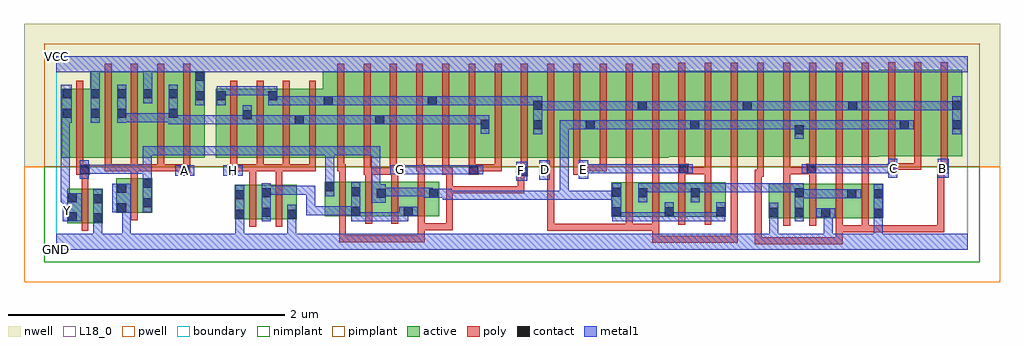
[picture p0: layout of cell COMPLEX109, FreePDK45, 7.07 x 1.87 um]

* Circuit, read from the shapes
.subckt COMPLEX109 A B C D E F G GND H VCC Y
M1 GND n1 Y VSUBS nfet w=0.25u l=0.05u
M2 n1 A GND VSUBS nfet w=0.25u l=0.05u
M3 n2 H GND VSUBS nfet w=0.25u l=0.05u m=2
M4 n2 F n1 VSUBS nfet w=0.25u l=0.05u m=2
M5 n1 G n2 VSUBS nfet w=0.25u l=0.05u m=2
M6 n3 D n1 VSUBS nfet w=0.25u l=0.05u m=2
M7 n3 E n1 VSUBS nfet w=0.25u l=0.05u m=2
M8 n3 C GND VSUBS nfet w=0.25u l=0.05u m=2
M9 n3 B GND VSUBS nfet w=0.25u l=0.05u m=2
M10 VCC n1 Y n4 pfet w=0.5u l=0.05u
M11 n5 A VCC n4 pfet w=0.625u l=0.05u m=4
M12 n5 H n6 n4 pfet w=0.5u l=0.05u m=4
M13 n7 F n6 n4 pfet w=0.625u l=0.05u
M14 n5 G n7 n4 pfet w=0.625u l=0.05u
M15 n8 G n5 n4 pfet w=0.625u l=0.05u
M16 n6 F n8 n4 pfet w=0.625u l=0.05u
M17 n9 F n6 n4 pfet w=0.625u l=0.05u
M18 n5 G n9 n4 pfet w=0.625u l=0.05u
M19 n10 G n5 n4 pfet w=0.625u l=0.05u
M20 n6 F n10 n4 pfet w=0.625u l=0.05u
M21 n11 D n6 n4 pfet w=0.625u l=0.05u
M22 n1 E n11 n4 pfet w=0.625u l=0.05u
M23 n12 E n1 n4 pfet w=0.625u l=0.05u
M24 n6 D n12 n4 pfet w=0.625u l=0.05u
M25 n13 D n6 n4 pfet w=0.625u l=0.05u
M26 n1 E n13 n4 pfet w=0.625u l=0.05u
M27 n14 E n1 n4 pfet w=0.625u l=0.05u
M28 n6 D n14 n4 pfet w=0.625u l=0.05u
M29 n15 B n6 n4 pfet w=0.625u l=0.05u
M30 n1 C n15 n4 pfet w=0.625u l=0.05u
M31 n16 C n1 n4 pfet w=0.625u l=0.05u
M32 n6 B n16 n4 pfet w=0.625u l=0.05u
M33 n17 B n6 n4 pfet w=0.625u l=0.05u
M34 n1 C n17 n4 pfet w=0.625u l=0.05u
M35 n18 C n1 n4 pfet w=0.625u l=0.05u
M36 n6 B n18 n4 pfet w=0.625u l=0.05u
.ends

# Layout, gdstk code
import gdstk
lib = gdstk.Library(unit=1e-6, precision=1e-09)
def R(c, l, rs):  # rectangles x0, y0, x1, y1
    for r in rs: c.add(gdstk.rectangle(r[:2], r[2:], *l))
def A(c, l, x, y, w, h, nx, ny, dx, dy):  # array of equal rectangles
    R(c, l, [(x+i*dx, y+j*dy, x+i*dx+w, y+j*dy+h) for i in range(nx) for j in range(ny)])
active = (1, 0)
pwell = (2, 0)
nwell = (3, 0)
nimplant = (4, 0)
pimplant = (5, 0)
poly = (9, 0)
contact = (10, 0)
metal1 = (11, 0)
L18_0 = (18, 0)
boundary = (235, 0)

complex109 = lib.new_cell('COMPLEX109')
A(complex109, active, 5.345, 0.227, 0.265, 0.25, 3, 1, 0.19, 0)
A(complex109, active, 4.02, 0.237, 0.265, 0.25, 3, 1, 0.19, 0)
A(complex109, active, 4.435, 0.672, 0.225, 0.625, 3, 1, 0.38, 0)
A(complex109, active, 4.585, 0.672, 0.23, 0.625, 3, 1, 0.38, 0)
R(complex109, active, [(0.077,0.192,0.337,0.442), (0.262,0.192,0.337,0.442), (0.077,0.2,0.152,0.442), (1.292,0.22,1.367,0.47), (1.292,0.22,1.557,0.47), (1.482,0.22,1.742,0.47), (1.482,0.22,1.557,0.45), (1.667,0.22,1.742,0.47), (5.16,0.227,5.235,0.477), (5.16,0.227,5.42,0.477), (5.345,0.227,5.42,0.467), (5.915,0.227,5.99,0.477), (5.535,0.23,5.61,0.387), (4.02,0.237,4.095,0.487), (4.4,0.237,4.475,0.405), (4.59,0.237,4.85,0.487), (4.775,0.237,4.85,0.487), (1.942,0.242,2.207,0.492), (2.132,0.242,2.207,0.492), (2.132,0.242,2.392,0.492), (2.317,0.242,2.587,0.492), (2.512,0.242,2.772,0.492), (2.512,0.242,2.587,0.372), (0.435,0.267,0.51,0.517), (0.435,0.267,0.695,0.517), (0.62,0.282,0.695,0.517), (2.697,0.282,2.772,0.492), (1.942,0.297,2.017,0.492), (2.317,0.297,2.392,0.492), (4.21,0.297,4.285,0.45), (4.59,0.297,4.665,0.467), (5.725,0.297,5.8,0.442), (0.04,0.667,0.32,1.167), (0.04,0.667,0.115,1.167), (0.245,0.667,0.51,1.292), (0.435,0.667,0.51,1.2), (0.435,0.667,0.7,1.292), (0.625,0.667,0.7,1.292), (0.625,0.667,0.885,1.292), (0.81,0.667,0.885,1.2), (0.81,0.667,1.075,1.292), (1,0.667,1.075,1.292), (1.155,0.667,1.23,1.157), (1.155,0.667,1.42,1.167), (1.345,0.667,1.42,1.07), (1.345,0.667,1.605,1.167), (1.53,0.667,1.797,1.167), (1.53,0.667,1.605,1.157), (1.722,0.667,1.797,1.07), (1.722,0.667,2.005,1.167), (1.93,0.667,2.155,1.292), (2.155,0.667,2.38,1.292), (2.305,0.667,2.535,1.292), (2.305,0.667,2.38,1.07), (2.535,0.667,2.76,1.292), (2.685,0.667,2.915,1.292), (2.915,0.667,3.142,1.292), (3.067,0.667,3.142,1.07), (3.067,0.667,3.295,1.292), (3.295,0.667,3.525,1.292), (3.45,0.667,3.675,1.292), (3.45,0.667,3.525,1.2), (3.675,0.667,3.905,1.292), (3.83,0.667,4.055,1.292), (3.83,0.667,3.905,1.07), (4.055,0.667,4.28,1.292), (4.205,0.667,4.435,1.292), (4.585,0.672,4.66,1.07), (4.965,0.672,5.04,1.2), (5.345,0.672,5.42,1.07), (5.575,0.672,5.805,1.297), (5.73,0.672,5.955,1.297), (5.73,0.672,5.805,1.2), (5.955,0.677,6.18,1.302), (6.105,0.677,6.335,1.302), (6.105,0.677,6.18,1.07), (6.335,0.677,6.56,1.302), (6.485,0.677,6.56,1.2), (2.685,0.682,2.76,1.2), (4.205,0.682,4.28,1.2), (0.245,0.807,0.32,1.165), (1.93,0.807,2.005,1.2)])
R(complex109, pwell, [(-0.235,-0.235,6.835,0.602)])
R(complex109, nwell, [(-0.235,0.602,6.835,1.635)])
R(complex109, nimplant, [(-0.09,-0.09,6.69,0.602)])
R(complex109, pimplant, [(-0.09,0.602,6.69,1.49)])
A(complex109, poly, 5.265, 0.172, 0.05, 0.36, 4, 1, 0.19, 0)
A(complex109, poly, 4.125, 0.182, 0.05, 0.36, 4, 1, 0.19, 0)
A(complex109, poly, 2.047, 0.187, 0.05, 0.36, 4, 1, 0.19, 0)
A(complex109, poly, 0.35, 0.567, 0.05, 0.095, 4, 1, 0.19, 0)
A(complex109, poly, 1.26, 0.567, 0.05, 0.095, 4, 1, 0.19, 0)
A(complex109, poly, 3.555, 0.567, 0.05, 0.095, 3, 1, 0.19, 0)
A(complex109, poly, 6.025, 0.577, 0.05, 0.095, 3, 1, 0.19, 0)
A(complex109, poly, 0.35, 0.612, 0.05, 0.735, 4, 1, 0.19, 0)
A(complex109, poly, 1.26, 0.612, 0.05, 0.61, 4, 1, 0.19, 0)
A(complex109, poly, 2.035, 0.612, 0.05, 0.735, 13, 1, 0.19, 0)
A(complex109, poly, 4.505, 0.617, 0.05, 0.735, 8, 1, 0.19, 0)
A(complex109, poly, 6.025, 0.622, 0.05, 0.735, 3, 1, 0.19, 0)
R(complex109, poly, [(5.06,0.04,5.11,0.09), (5.06,0.04,5.11,0.09), (5.06,0.04,5.11,0.09), (5.06,0.04,5.11,0.09), (5.06,0.04,5.11,0.09), (5.06,0.04,5.11,0.09), (5.06,0.04,5.11,0.09), (5.06,0.04,5.257,0.09), (5.06,0.04,5.11,0.577), (5.207,0.04,5.257,0.09), (5.207,0.04,5.257,0.09), (5.207,0.04,5.257,0.09), (5.207,0.04,5.535,0.09), (5.485,0.04,5.535,0.09), (5.485,0.04,5.535,0.09), (5.485,0.04,5.535,0.09), (5.485,0.04,5.695,0.09), (5.645,0.04,5.695,0.177), (4.315,0.05,4.365,0.187), (4.315,0.05,4.58,0.1), (4.53,0.05,4.58,0.1), (4.53,0.05,4.58,0.1), (4.53,0.05,4.58,0.1), (4.53,0.05,4.712,0.1), (4.662,0.05,4.712,0.1), (4.662,0.05,4.712,0.1), (4.662,0.05,4.712,0.1), (4.662,0.05,4.935,0.1), (4.885,0.05,4.935,0.1), (4.885,0.05,4.935,0.1), (4.885,0.05,4.935,0.1), (4.885,0.05,4.935,0.1), (4.885,0.05,4.935,0.1), (4.885,0.05,4.935,0.1), (4.885,0.05,4.935,0.1), (4.885,0.05,4.935,0.1), (4.885,0.05,4.935,0.1), (4.885,0.05,4.935,0.667), (2.047,0.055,2.097,0.105), (2.047,0.055,2.097,0.105), (2.047,0.055,2.097,0.105), (2.047,0.055,2.23,0.105), (2.047,0.055,2.097,0.237), (2.18,0.055,2.23,0.105), (2.18,0.055,2.23,0.105), (2.18,0.055,2.23,0.105), (2.18,0.055,2.522,0.105), (2.472,0.055,2.522,0.105), (2.472,0.055,2.522,0.105), (2.472,0.055,2.522,0.105), (2.472,0.055,2.667,0.105), (2.617,0.055,2.667,0.192), (5.645,0.127,5.695,0.222), (5.645,0.127,5.695,0.177), (5.645,0.127,5.695,0.177), (5.645,0.127,5.885,0.177), (5.835,0.127,5.885,0.222), (5.835,0.127,5.885,0.177), (5.835,0.127,5.885,0.177), (5.835,0.127,5.885,0.177), (5.835,0.127,6.017,0.177), (5.967,0.127,6.017,0.177), (5.967,0.127,6.017,0.177), (5.967,0.127,6.017,0.177), (5.967,0.127,6.23,0.177), (6.18,0.127,6.23,0.177), (6.18,0.127,6.23,0.177), (6.18,0.127,6.23,0.177), (6.18,0.127,6.43,0.177), (6.38,0.127,6.43,0.177), (6.38,0.127,6.43,0.177), (6.38,0.127,6.43,0.177), (6.38,0.127,6.43,0.602), (0.182,0.137,0.232,0.497), (3.555,0.137,3.605,0.187), (3.555,0.137,3.605,0.187), (3.555,0.137,3.605,0.187), (3.555,0.137,3.852,0.187), (3.555,0.137,3.605,0.592), (3.802,0.137,3.852,0.187), (3.802,0.137,3.852,0.187), (3.802,0.137,3.852,0.187), (3.802,0.137,3.852,0.187), (3.802,0.137,3.852,0.187), (3.802,0.137,3.985,0.187), (3.935,0.137,3.985,0.187), (3.935,0.137,3.985,0.187), (3.935,0.137,3.985,0.187), (3.935,0.137,4.175,0.187), (4.125,0.137,4.175,0.232), (4.125,0.137,4.175,0.187), (4.125,0.137,4.175,0.187), (4.125,0.137,4.175,0.187), (4.125,0.137,4.365,0.187), (4.315,0.137,4.365,0.232), (2.617,0.142,2.667,0.237), (2.617,0.142,2.667,0.192), (2.617,0.142,2.667,0.192), (2.617,0.142,2.872,0.192), (2.822,0.142,2.872,0.192), (2.822,0.142,2.872,0.46), (1.397,0.165,1.447,0.525), (1.587,0.165,1.637,0.525), (0.54,0.212,0.59,0.572), (2.822,0.41,2.872,0.46), (2.822,0.41,2.872,0.46), (2.822,0.41,2.872,0.46), (2.822,0.41,2.872,0.46), (2.822,0.41,2.872,0.46), (2.822,0.41,3.092,0.46), (2.822,0.41,2.872,0.592), (3.042,0.41,3.092,0.46), (3.042,0.41,3.092,0.46), (3.042,0.41,3.092,0.46), (3.042,0.41,3.257,0.46), (3.207,0.41,3.257,0.46), (3.207,0.41,3.39,0.46), (3.34,0.41,3.39,0.46), (3.34,0.41,3.39,0.46), (3.34,0.41,3.39,0.46), (3.34,0.41,3.39,0.46), (3.34,0.41,3.39,0.46), (3.34,0.41,3.39,0.582), (0.182,0.447,0.232,0.592), (1.397,0.475,1.447,0.617), (1.587,0.475,1.637,0.617), (5.265,0.482,5.315,0.597), (5.455,0.482,5.505,0.597), (5.645,0.482,5.695,0.577), (5.835,0.482,5.885,0.622), (4.125,0.492,4.175,0.587), (4.315,0.492,4.365,0.617), (4.505,0.492,4.555,0.597), (4.695,0.492,4.745,0.597), (2.047,0.497,2.097,0.617), (2.237,0.497,2.287,0.592), (2.427,0.497,2.477,0.592), (2.617,0.497,2.667,0.617), (0.54,0.522,0.59,0.617), (5.06,0.527,5.125,0.577), (5.075,0.527,5.125,0.667), (5.645,0.527,5.695,0.577), (5.645,0.527,5.695,0.667), (3.34,0.532,3.415,0.607), (4.125,0.537,4.175,0.587), (4.125,0.537,4.175,0.662), (0.145,0.542,0.24,0.617), (0.892,0.542,0.97,0.617), (1.24,0.542,1.315,0.617), (2.225,0.542,2.275,0.662), (2.225,0.542,2.287,0.592), (2.237,0.542,2.287,0.592), (2.237,0.542,2.287,0.592), (2.237,0.542,2.465,0.592), (2.415,0.542,2.522,0.617), (2.795,0.542,2.845,0.662), (2.795,0.542,2.872,0.592), (2.985,0.542,3.06,0.617), (3.502,0.542,3.605,0.617), (3.555,0.542,3.605,0.592), (3.555,0.542,3.605,0.592), (3.745,0.542,3.852,0.617), (4.505,0.547,4.58,0.622), (4.53,0.547,4.745,0.597), (4.695,0.547,4.745,0.597), (4.695,0.547,4.745,0.597), (4.695,0.547,4.745,0.597), (4.695,0.547,4.745,0.667), (5.265,0.547,5.315,0.597), (5.265,0.547,5.315,0.597), (5.265,0.547,5.315,0.597), (5.265,0.547,5.48,0.597), (5.265,0.547,5.315,0.667), (5.43,0.547,5.505,0.622), (6.022,0.552,6.097,0.627), (6.38,0.552,6.43,0.602), (6.38,0.552,6.43,0.602), (6.38,0.552,6.455,0.627), (3.365,0.557,3.415,0.662), (0.145,0.567,0.195,0.662), (0.35,0.567,0.4,0.617), (0.35,0.567,0.4,0.617), (0.35,0.567,0.4,0.617), (0.35,0.567,0.59,0.617), (0.54,0.567,0.59,0.617), (0.54,0.567,0.59,0.617), (0.54,0.567,0.59,0.617), (0.54,0.567,0.78,0.617), (0.73,0.567,0.78,0.617), (0.73,0.567,0.942,0.617), (0.892,0.567,0.942,0.617), (0.892,0.567,0.942,0.617), (1.265,0.567,1.447,0.617), (1.397,0.567,1.447,0.617), (1.397,0.567,1.447,0.617), (1.397,0.567,1.5,0.617), (1.45,0.567,1.637,0.617), (1.587,0.567,1.637,0.617), (1.587,0.567,1.637,0.617), (1.587,0.567,1.69,0.617), (1.64,0.567,1.88,0.617), (1.83,0.567,1.88,0.617), (1.83,0.567,1.88,0.617), (1.83,0.567,1.88,0.617), (2.035,0.567,2.085,0.662), (2.035,0.567,2.097,0.617), (2.415,0.567,2.465,0.662), (2.605,0.567,2.655,0.662), (2.605,0.567,2.667,0.617), (2.985,0.567,3.035,0.662), (3.01,0.567,3.06,0.617), (3.01,0.567,3.06,0.617), (3.01,0.567,3.225,0.617), (3.175,0.567,3.225,0.662), (3.175,0.567,3.225,0.617), (3.802,0.567,3.852,0.617), (3.802,0.567,3.852,0.617), (3.802,0.567,3.985,0.617), (3.935,0.567,3.985,0.617), (4.315,0.567,4.365,0.662), (4.315,0.567,4.365,0.617), (4.505,0.572,4.555,0.667), (5.455,0.572,5.505,0.667), (5.835,0.572,5.885,0.667), (5.835,0.572,5.885,0.622), (6.047,0.577,6.097,0.627), (6.047,0.577,6.097,0.627), (6.047,0.577,6.265,0.627), (6.215,0.577,6.265,0.627), (0.145,0.612,0.195,1.222)])
A(complex109, contact, 0.25, 1.095, 0.065, 0.065, 3, 1, 0.19, 0)
R(complex109, contact, [(0.267,0.197,0.332,0.262), (0.082,0.205,0.147,0.27), (1.297,0.225,1.362,0.29), (1.672,0.225,1.737,0.29), (5.92,0.232,5.985,0.297), (5.54,0.235,5.605,0.3), (1.487,0.24,1.552,0.305), (5.165,0.24,5.23,0.305), (5.35,0.24,5.415,0.305), (4.025,0.242,4.09,0.307), (4.405,0.242,4.47,0.307), (4.78,0.242,4.845,0.307), (2.137,0.247,2.202,0.312), (2.517,0.247,2.582,0.312), (0.44,0.272,0.505,0.337), (0.625,0.307,0.69,0.372), (0.267,0.337,0.332,0.402), (0.082,0.345,0.147,0.41), (1.297,0.365,1.362,0.43), (5.73,0.372,5.795,0.437), (5.92,0.372,5.985,0.437), (2.322,0.375,2.387,0.44), (2.702,0.377,2.767,0.442), (1.487,0.38,1.552,0.445), (4.215,0.38,4.28,0.445), (4.595,0.38,4.66,0.445), (5.35,0.38,5.415,0.445), (4.025,0.382,4.09,0.447), (2.137,0.387,2.202,0.452), (0.44,0.412,0.505,0.477), (1.947,0.422,2.012,0.487), (0.625,0.447,0.69,0.512), (3.345,0.537,3.41,0.602), (0.17,0.547,0.235,0.612), (0.897,0.547,0.962,0.612), (1.245,0.547,1.31,0.612), (2.452,0.547,2.517,0.612), (2.99,0.547,3.055,0.612), (3.507,0.547,3.572,0.612), (3.782,0.547,3.847,0.612), (4.51,0.552,4.575,0.617), (5.435,0.552,5.5,0.617), (6.027,0.557,6.092,0.622), (6.385,0.557,6.45,0.622), (5.35,0.837,5.415,0.902), (3.455,0.872,3.52,0.937), (3.835,0.872,3.9,0.937), (4.59,0.872,4.655,0.937), (6.11,0.872,6.175,0.937), (6.49,0.872,6.555,0.937), (3.072,0.875,3.137,0.94), (1.727,0.91,1.792,0.975), (2.31,0.91,2.375,0.975), (1.35,0.945,1.415,1.01), (0.045,0.955,0.11,1.02), (0.25,0.955,0.315,1.02), (0.44,0.955,0.505,1.02), (0.815,0.955,0.88,1.02), (4.21,1.01,4.275,1.075), (4.97,1.01,5.035,1.075), (5.735,1.01,5.8,1.075), (3.455,1.012,3.52,1.077), (6.49,1.012,6.555,1.077), (1.935,1.047,2,1.112), (2.69,1.047,2.755,1.112), (1.005,1.082,1.07,1.147), (1.16,1.082,1.225,1.147), (1.535,1.082,1.6,1.147), (0.045,1.095,0.11,1.16), (0.815,1.095,0.88,1.16), (1.005,1.222,1.07,1.287)])
R(complex109, metal1, [(0,0,6.6,0.115), (0.267,0.05,0.332,0.115), (0.267,0.05,0.332,0.115), (0.267,0.05,0.332,0.115), (0.267,0.05,0.332,0.115), (0.267,0.05,0.332,0.227), (0.475,0.05,0.54,0.337), (1.297,0.05,1.362,0.115), (1.297,0.05,1.362,0.115), (1.297,0.05,1.362,0.115), (1.297,0.05,1.362,0.115), (1.297,0.05,1.362,0.255), (1.672,0.05,1.737,0.115), (1.672,0.05,1.737,0.115), (1.672,0.05,1.737,0.115), (1.672,0.05,1.737,0.115), (1.672,0.05,1.737,0.255), (5.165,0.05,5.23,0.27), (5.557,0.05,5.622,0.3), (5.92,0.05,5.985,0.115), (5.92,0.05,5.985,0.115), (5.92,0.05,5.985,0.115), (5.92,0.05,5.985,0.115), (5.92,0.05,5.985,0.262), (0.267,0.162,0.332,0.437), (1.297,0.19,1.362,0.465), (1.672,0.19,1.737,0.325), (5.92,0.197,5.985,0.472), (0.047,0.205,0.182,0.41), (1.487,0.205,1.552,0.48), (2.137,0.205,2.202,0.27), (2.137,0.205,2.202,0.27), (2.137,0.205,2.34,0.27), (2.137,0.205,2.202,0.277), (2.275,0.205,2.34,0.27), (2.275,0.205,2.547,0.27), (2.482,0.205,2.547,0.27), (2.482,0.205,2.547,0.27), (2.482,0.205,2.547,0.27), (2.482,0.205,2.547,0.312), (5.165,0.205,5.23,0.27), (5.165,0.205,5.23,0.27), (5.165,0.205,5.23,0.27), (5.165,0.205,5.23,0.27), (5.165,0.205,5.23,0.34), (5.35,0.205,5.415,0.48), (4.025,0.207,4.09,0.482), (4.025,0.207,4.142,0.272), (4.077,0.207,4.142,0.272), (4.077,0.207,4.31,0.272), (4.245,0.207,4.31,0.272), (4.245,0.207,4.31,0.272), (4.245,0.207,4.31,0.272), (4.245,0.207,4.47,0.272), (4.405,0.207,4.47,0.272), (4.405,0.207,4.47,0.272), (4.405,0.207,4.607,0.272), (4.405,0.207,4.47,0.342), (4.542,0.207,4.607,0.272), (4.542,0.207,4.607,0.272), (4.542,0.207,4.607,0.272), (4.542,0.207,4.845,0.272), (4.78,0.207,4.845,0.342), (2.137,0.212,2.202,0.277), (2.137,0.212,2.202,0.487), (5.505,0.235,5.64,0.3), (5.557,0.235,5.622,0.3), (5.557,0.235,5.622,0.3), (5.557,0.235,5.622,0.3), (5.557,0.235,5.622,0.3), (2.482,0.247,2.617,0.312), (1.81,0.25,1.875,0.315), (1.81,0.25,1.875,0.462), (1.81,0.25,2.065,0.315), (2,0.25,2.065,0.315), (2,0.25,2.065,0.315), (2,0.25,2.065,0.315), (2,0.25,2.202,0.315), (0.405,0.272,0.54,0.477), (0.475,0.272,0.54,0.337), (0.475,0.272,0.54,0.337), (0.475,0.272,0.54,0.337), (0.475,0.272,0.54,0.337), (0.625,0.272,0.69,0.615), (2.28,0.34,2.387,0.475), (0.032,0.345,0.097,0.41), (0.032,0.345,0.097,0.41), (0.032,0.345,0.112,0.41), (0.032,0.345,0.097,0.985), (0.047,0.345,0.112,0.41), (4.215,0.345,4.28,0.48), (4.595,0.345,4.66,0.48), (2.797,0.362,3,0.427), (2.797,0.362,2.862,0.442), (2.935,0.362,3,0.427), (2.935,0.362,3,0.427), (2.935,0.362,3,0.427), (2.935,0.362,3.137,0.427), (3.072,0.362,3.137,0.427), (3.072,0.362,3.137,0.427), (3.072,0.362,3.137,0.427), (3.072,0.362,3.275,0.427), (3.21,0.362,3.275,0.427), (3.21,0.362,3.275,0.427), (3.21,0.362,3.275,0.427), (3.21,0.362,3.412,0.427), (3.347,0.362,3.412,0.427), (3.347,0.362,3.412,0.427), (3.347,0.362,3.412,0.427), (3.347,0.362,3.412,0.427), (3.347,0.362,3.412,0.427), (3.347,0.362,3.71,0.427), (3.645,0.362,3.71,0.427), (3.645,0.362,3.71,0.427), (3.645,0.362,3.71,0.427), (3.645,0.362,3.71,0.427), (3.645,0.362,3.71,0.427), (3.645,0.362,3.852,0.427), (3.645,0.362,3.71,0.937), (3.787,0.362,3.852,0.427), (3.787,0.362,4.005,0.427), (3.94,0.362,4.005,0.427), (3.94,0.362,4.09,0.427), (5.35,0.372,5.552,0.437), (5.487,0.372,5.552,0.437), (5.487,0.372,5.552,0.437), (5.487,0.372,5.552,0.437), (5.487,0.372,5.76,0.437), (5.695,0.372,5.76,0.437), (5.695,0.372,5.76,0.437), (5.695,0.372,5.83,0.437), (2.66,0.377,2.732,0.442), (2.66,0.377,2.725,0.45), (2.667,0.377,2.802,0.442), (2.737,0.377,2.862,0.442), (2.322,0.385,2.582,0.45), (2.517,0.385,2.582,0.45), (2.517,0.385,2.582,0.45), (2.517,0.385,2.582,0.45), (2.517,0.385,2.725,0.45), (1.947,0.387,2.012,0.522), (1.487,0.397,1.737,0.462), (1.672,0.397,1.737,0.462), (1.672,0.397,1.737,0.462), (1.672,0.397,1.737,0.462), (1.672,0.397,1.875,0.462), (1.81,0.397,1.875,0.462), (2.28,0.41,2.345,0.475), (2.28,0.41,2.345,0.475), (2.28,0.41,2.345,0.75), (4.215,0.415,4.28,0.48), (4.215,0.415,4.28,0.48), (4.215,0.415,4.47,0.48), (4.405,0.415,4.47,0.48), (4.405,0.415,4.47,0.48), (4.405,0.415,4.47,0.48), (4.405,0.415,4.66,0.48), (4.595,0.415,4.66,0.48), (4.595,0.415,4.66,0.48), (4.595,0.415,4.827,0.48), (4.762,0.415,4.827,0.48), (4.762,0.415,4.827,0.48), (4.762,0.415,4.827,0.48), (4.762,0.415,4.982,0.48), (4.917,0.415,4.982,0.48), (4.917,0.415,4.982,0.48), (4.917,0.415,4.982,0.48), (4.917,0.415,5.277,0.48), (5.212,0.415,5.277,0.48), (5.212,0.415,5.277,0.48), (5.212,0.415,5.277,0.48), (5.212,0.415,5.415,0.48), (1.947,0.457,2.012,0.75), (3.332,0.5,3.41,0.637), (3.497,0.507,3.572,0.647), (0.17,0.512,0.235,0.647), (3.782,0.512,3.852,0.647), (6.027,0.522,6.092,0.657), (6.385,0.522,6.462,0.66), (0.862,0.535,0.997,0.612), (1.21,0.537,1.35,0.612), (2.417,0.547,2.557,0.612), (2.492,0.547,2.557,0.612), (2.492,0.547,2.557,0.612), (2.492,0.547,2.72,0.612), (2.655,0.547,2.72,0.612), (2.655,0.547,2.862,0.612), (2.797,0.547,2.862,0.612), (2.797,0.547,2.862,0.612), (2.797,0.547,2.862,0.612), (2.797,0.547,3,0.612), (2.935,0.547,3,0.612), (2.935,0.547,3.02,0.612), (2.955,0.547,3.09,0.612), (0.17,0.55,0.25,0.615), (0.185,0.55,0.25,0.615), (0.185,0.55,0.25,0.615), (0.185,0.55,0.25,0.615), (0.185,0.55,0.372,0.615), (0.307,0.55,0.372,0.615), (0.307,0.55,0.552,0.615), (0.487,0.55,0.552,0.615), (0.487,0.55,0.552,0.615), (0.487,0.55,0.552,0.615), (0.487,0.55,0.69,0.615), (0.625,0.55,0.69,0.75), (4.215,0.552,4.28,0.617), (4.215,0.552,4.28,0.617), (4.215,0.552,4.447,0.617), (4.215,0.552,4.28,0.62), (4.382,0.552,4.447,0.617), (4.382,0.552,4.54,0.617), (4.475,0.552,4.61,0.617), (5.4,0.552,5.535,0.617), (5.47,0.552,5.552,0.617), (5.487,0.552,5.552,0.617), (5.487,0.552,5.765,0.617), (5.7,0.552,5.765,0.617), (5.7,0.552,5.765,0.617), (5.7,0.552,5.765,0.617), (5.7,0.552,5.955,0.617), (5.89,0.552,5.955,0.617), (5.89,0.552,6.002,0.617), (5.937,0.552,6.002,0.617), (5.937,0.552,6.092,0.617), (3.787,0.555,3.852,0.62), (3.787,0.555,3.852,0.62), (3.787,0.555,4.005,0.62), (3.94,0.555,4.005,0.62), (3.94,0.555,4.072,0.62), (4.007,0.555,4.072,0.62), (4.007,0.555,4.142,0.62), (4.077,0.555,4.142,0.62), (4.077,0.555,4.28,0.62), (0.625,0.685,0.69,0.75), (0.625,0.685,0.69,0.75), (0.625,0.685,0.69,0.75), (0.625,0.685,0.69,0.75), (0.625,0.685,0.69,0.75), (0.625,0.685,0.932,0.75), (0.867,0.685,0.932,0.75), (0.867,0.685,0.932,0.75), (0.867,0.685,0.932,0.75), (0.867,0.685,1.087,0.75), (1.022,0.685,1.087,0.75), (1.022,0.685,1.087,0.75), (1.022,0.685,1.087,0.75), (1.022,0.685,1.415,0.75), (1.35,0.685,1.415,0.75), (1.35,0.685,1.415,0.75), (1.35,0.685,1.415,0.75), (1.35,0.685,1.552,0.75), (1.487,0.685,1.552,0.75), (1.487,0.685,1.552,0.75), (1.487,0.685,1.552,0.75), (1.487,0.685,1.737,0.75), (1.672,0.685,1.737,0.75), (1.672,0.685,1.737,0.75), (1.672,0.685,1.737,0.75), (1.672,0.685,1.897,0.75), (1.832,0.685,1.897,0.75), (1.832,0.685,2.012,0.75), (1.947,0.685,2.012,0.75), (1.947,0.685,2.012,0.75), (1.947,0.685,2.012,0.75), (1.947,0.685,2.065,0.75), (2,0.685,2.065,0.75), (2,0.685,2.202,0.75), (2.137,0.685,2.202,0.75), (2.137,0.685,2.345,0.75), (2.28,0.685,2.345,0.75), (2.28,0.685,2.345,0.75), (2.28,0.685,2.345,0.75), (5.35,0.802,5.415,0.937), (3.455,0.837,3.52,1.112), (6.49,0.837,6.555,1.112), (3.072,0.84,3.137,0.975), (3.645,0.872,3.71,0.937), (3.645,0.872,3.71,0.937), (3.645,0.872,3.71,0.937), (3.645,0.872,3.71,0.937), (3.645,0.872,3.71,0.937), (3.645,0.872,3.865,0.937), (3.8,0.872,3.935,0.937), (3.87,0.872,4.005,0.937), (3.94,0.872,4.005,0.937), (3.94,0.872,4.102,0.937), (4.037,0.872,4.102,0.937), (4.037,0.872,4.142,0.937), (4.077,0.872,4.142,0.937), (4.077,0.872,4.28,0.937), (4.215,0.872,4.28,0.937), (4.215,0.872,4.28,0.937), (4.215,0.872,4.28,0.937), (4.215,0.872,4.47,0.937), (4.405,0.872,4.47,0.937), (4.405,0.872,4.47,0.937), (4.405,0.872,4.47,0.937), (4.405,0.872,4.62,0.937), (4.555,0.872,4.69,0.937), (4.625,0.872,4.69,0.937), (4.625,0.872,4.69,0.937), (4.625,0.872,4.69,0.937), (4.625,0.872,4.69,0.937), (4.625,0.872,4.69,0.937), (4.625,0.872,4.69,0.937), (4.625,0.872,4.827,0.937), (4.762,0.872,4.827,0.937), (4.762,0.872,4.827,0.937), (4.762,0.872,4.827,0.937), (4.762,0.872,4.965,0.937), (4.9,0.872,4.965,0.937), (4.9,0.872,4.965,0.937), (4.9,0.872,4.965,0.937), (4.9,0.872,5.277,0.937), (5.212,0.872,5.277,0.937), (5.212,0.872,5.277,0.937), (5.212,0.872,5.277,0.937), (5.212,0.872,5.415,0.937), (5.35,0.872,5.622,0.937), (5.557,0.872,5.622,0.937), (5.557,0.872,5.622,0.937), (5.557,0.872,5.622,0.937), (5.557,0.872,5.76,0.937), (5.695,0.872,5.76,0.937), (5.695,0.872,5.76,0.937), (5.695,0.872,5.76,0.937), (5.695,0.872,5.902,0.937), (5.837,0.872,5.902,0.937), (5.837,0.872,6.002,0.937), (5.937,0.872,6.002,0.937), (5.937,0.872,6.14,0.937), (6.075,0.872,6.14,0.937), (6.075,0.872,6.14,0.937), (6.075,0.872,6.21,0.937), (0.815,0.91,1.07,0.975), (0.815,0.91,0.88,0.985), (1.005,0.91,1.07,0.975), (1.005,0.91,1.07,0.975), (1.005,0.91,1.07,0.975), (1.005,0.91,1.415,0.975), (1.35,0.91,1.415,0.975), (1.35,0.91,1.415,0.975), (1.35,0.91,1.552,0.975), (1.35,0.91,1.415,1.045), (1.487,0.91,1.552,0.975), (1.487,0.91,1.552,0.975), (1.487,0.91,1.552,0.975), (1.487,0.91,1.737,0.975), (1.672,0.91,1.737,0.975), (1.672,0.91,1.757,0.975), (1.692,0.91,1.827,0.975), (1.762,0.91,1.875,0.975), (1.81,0.91,1.875,0.975), (1.81,0.91,1.965,0.975), (1.9,0.91,1.965,0.975), (1.9,0.91,2.065,0.975), (2,0.91,2.065,0.975), (2,0.91,2.202,0.975), (2.137,0.91,2.202,0.975), (2.137,0.91,2.34,0.975), (2.275,0.91,2.34,0.975), (2.275,0.91,2.34,0.975), (2.275,0.91,2.41,0.975), (2.345,0.91,2.582,0.975), (2.517,0.91,2.582,0.975), (2.517,0.91,2.582,0.975), (2.517,0.91,2.582,0.975), (2.517,0.91,2.72,0.975), (2.655,0.91,2.72,0.975), (2.655,0.91,2.862,0.975), (2.797,0.91,2.862,0.975), (2.797,0.91,2.862,0.975), (2.797,0.91,2.862,0.975), (2.797,0.91,3,0.975), (2.935,0.91,3,0.975), (2.935,0.91,3,0.975), (2.935,0.91,3,0.975), (2.935,0.91,3.137,0.975), (0.032,0.92,0.11,1.195), (0.25,0.92,0.315,1.195), (0.44,0.92,0.505,1.195), (0.815,0.92,0.88,0.985), (0.815,0.92,0.88,1.195), (0.44,0.922,0.51,0.987), (0.445,0.922,0.51,0.987), (0.445,0.922,0.69,0.987), (0.625,0.922,0.69,0.987), (0.625,0.922,0.69,0.987), (0.625,0.922,0.69,0.987), (0.625,0.922,0.88,0.987), (3.455,1.01,3.52,1.075), (3.455,1.01,3.52,1.075), (3.455,1.01,3.715,1.075), (3.65,1.01,3.715,1.075), (3.65,1.01,3.715,1.075), (3.65,1.01,3.715,1.075), (3.65,1.01,3.852,1.075), (3.787,1.01,3.852,1.075), (3.787,1.01,3.99,1.075), (3.925,1.01,3.99,1.075), (3.925,1.01,4.072,1.075), (4.007,1.01,4.072,1.075), (4.007,1.01,4.142,1.075), (4.077,1.01,4.142,1.075), (4.077,1.01,4.24,1.075), (4.175,1.01,4.31,1.075), (4.245,1.01,4.31,1.075), (4.245,1.01,4.31,1.075), (4.245,1.01,4.447,1.075), (4.382,1.01,4.447,1.075), (4.382,1.01,4.447,1.075), (4.382,1.01,4.447,1.075), (4.382,1.01,4.607,1.075), (4.542,1.01,4.607,1.075), (4.542,1.01,4.607,1.075), (4.542,1.01,4.607,1.075), (4.542,1.01,4.827,1.075), (4.762,1.01,4.827,1.075), (4.762,1.01,4.827,1.075), (4.762,1.01,4.827,1.075), (4.762,1.01,5,1.075), (4.935,1.01,5.07,1.075), (5.005,1.01,5.07,1.075), (5.005,1.01,5.07,1.075), (5.005,1.01,5.207,1.075), (5.142,1.01,5.207,1.075), (5.142,1.01,5.207,1.075), (5.142,1.01,5.207,1.075), (5.142,1.01,5.415,1.075), (5.35,1.01,5.415,1.075), (5.35,1.01,5.552,1.075), (5.487,1.01,5.552,1.075), (5.487,1.01,5.552,1.075), (5.487,1.01,5.552,1.075), (5.487,1.01,5.765,1.075), (5.7,1.01,5.765,1.075), (5.7,1.01,5.765,1.075), (5.7,1.01,5.835,1.075), (5.77,1.01,5.955,1.075), (5.89,1.01,5.955,1.075), (5.89,1.01,6.002,1.075), (5.937,1.01,6.002,1.075), (5.937,1.01,6.14,1.075), (6.075,1.01,6.14,1.075), (6.075,1.01,6.14,1.075), (6.075,1.01,6.14,1.075), (6.075,1.01,6.277,1.075), (6.212,1.01,6.277,1.075), (6.212,1.01,6.277,1.075), (6.212,1.01,6.277,1.075), (6.212,1.01,6.555,1.075), (6.49,1.01,6.555,1.075), (6.49,1.01,6.555,1.075), (1.005,1.047,1.07,1.322), (1.16,1.047,1.225,1.182), (1.535,1.047,1.737,1.112), (1.535,1.047,1.6,1.182), (1.672,1.047,1.737,1.112), (1.672,1.047,1.737,1.112), (1.672,1.047,1.737,1.112), (1.672,1.047,1.875,1.112), (1.81,1.047,1.875,1.112), (1.81,1.047,1.965,1.112), (1.9,1.047,2.035,1.112), (1.97,1.047,2.035,1.112), (1.97,1.047,2.035,1.112), (1.97,1.047,2.202,1.112), (2.137,1.047,2.202,1.112), (2.137,1.047,2.345,1.112), (2.28,1.047,2.345,1.112), (2.28,1.047,2.345,1.112), (2.28,1.047,2.345,1.112), (2.28,1.047,2.547,1.112), (2.482,1.047,2.547,1.112), (2.482,1.047,2.547,1.112), (2.482,1.047,2.547,1.112), (2.482,1.047,2.72,1.112), (2.655,1.047,2.72,1.112), (2.655,1.047,2.72,1.112), (2.655,1.047,2.79,1.112), (2.725,1.047,2.862,1.112), (2.797,1.047,2.862,1.112), (2.797,1.047,3,1.112), (2.935,1.047,3,1.112), (2.935,1.047,3,1.112), (2.935,1.047,3,1.112), (2.935,1.047,3.137,1.112), (3.072,1.047,3.137,1.112), (3.072,1.047,3.137,1.112), (3.072,1.047,3.137,1.112), (3.072,1.047,3.275,1.112), (3.21,1.047,3.275,1.112), (3.21,1.047,3.275,1.112), (3.21,1.047,3.275,1.112), (3.21,1.047,3.52,1.112), (0.63,1.06,0.695,1.195), (1.16,1.117,1.225,1.182), (1.16,1.117,1.225,1.182), (1.16,1.117,1.362,1.182), (1.297,1.117,1.362,1.182), (1.297,1.117,1.6,1.182), (1.535,1.117,1.6,1.182), (1.535,1.117,1.6,1.182), (0.25,1.13,0.315,1.35), (0.63,1.13,0.695,1.35), (1.005,1.257,1.07,1.35), (0,1.285,6.6,1.4)])
R(complex109, L18_0, [(0,0,6.6,0.115), (0.267,0.05,0.332,0.115), (0.267,0.05,0.332,0.115), (0.267,0.05,0.332,0.115), (0.267,0.05,0.332,0.115), (0.267,0.05,0.332,0.227), (0.475,0.05,0.54,0.337), (1.297,0.05,1.362,0.115), (1.297,0.05,1.362,0.115), (1.297,0.05,1.362,0.115), (1.297,0.05,1.362,0.115), (1.297,0.05,1.362,0.255), (1.672,0.05,1.737,0.115), (1.672,0.05,1.737,0.115), (1.672,0.05,1.737,0.115), (1.672,0.05,1.737,0.115), (1.672,0.05,1.737,0.255), (5.165,0.05,5.23,0.27), (5.557,0.05,5.622,0.3), (5.92,0.05,5.985,0.115), (5.92,0.05,5.985,0.115), (5.92,0.05,5.985,0.115), (5.92,0.05,5.985,0.115), (5.92,0.05,5.985,0.262), (0.267,0.162,0.332,0.437), (1.297,0.19,1.362,0.465), (1.672,0.19,1.737,0.325), (5.92,0.197,5.985,0.472), (0.047,0.205,0.182,0.41), (5.165,0.205,5.23,0.27), (5.165,0.205,5.23,0.27), (5.165,0.205,5.23,0.27), (5.165,0.205,5.23,0.27), (5.165,0.205,5.23,0.34), (5.505,0.235,5.64,0.3), (5.557,0.235,5.622,0.3), (5.557,0.235,5.622,0.3), (5.557,0.235,5.622,0.3), (5.557,0.235,5.622,0.3), (0.047,0.247,0.112,0.312), (0.405,0.272,0.54,0.477), (0.475,0.272,0.54,0.337), (0.475,0.272,0.54,0.337), (0.475,0.272,0.54,0.337), (0.475,0.272,0.54,0.337), (0.032,0.345,0.112,0.41), (0.032,0.345,0.097,0.41), (0.032,0.345,0.097,0.41), (0.032,0.345,0.097,0.985), (0.047,0.345,0.112,0.41), (3.332,0.5,3.41,0.637), (3.497,0.507,3.572,0.647), (3.782,0.512,3.852,0.647), (6.027,0.522,6.092,0.657), (6.385,0.522,6.462,0.66), (0.862,0.535,0.997,0.612), (0.897,0.537,0.962,0.602), (1.21,0.537,1.35,0.612), (1.247,0.537,1.312,0.602), (3.337,0.537,3.402,0.602), (2.417,0.547,2.557,0.612), (2.457,0.547,2.522,0.612), (2.492,0.547,2.557,0.612), (2.492,0.547,2.557,0.612), (2.492,0.547,2.72,0.612), (2.655,0.547,2.72,0.612), (2.655,0.547,2.862,0.612), (2.797,0.547,2.862,0.612), (2.797,0.547,2.862,0.612), (2.797,0.547,2.862,0.612), (2.797,0.547,3,0.612), (2.935,0.547,3,0.612), (2.935,0.547,3.02,0.612), (2.955,0.547,3.09,0.612), (3.507,0.547,3.572,0.612), (3.787,0.547,3.852,0.612), (4.215,0.552,4.28,0.617), (4.215,0.552,4.28,0.617), (4.215,0.552,4.28,0.62), (4.215,0.552,4.447,0.617), (4.382,0.552,4.447,0.617), (4.382,0.552,4.54,0.617), (4.475,0.552,4.61,0.617), (5.4,0.552,5.535,0.617), (5.47,0.552,5.552,0.617), (5.487,0.552,5.552,0.617), (5.487,0.552,5.765,0.617), (5.7,0.552,5.765,0.617), (5.7,0.552,5.765,0.617), (5.7,0.552,5.765,0.617), (5.7,0.552,5.955,0.617), (5.89,0.552,5.955,0.617), (5.89,0.552,6.002,0.617), (5.937,0.552,6.002,0.617), (5.937,0.552,6.092,0.617), (3.787,0.555,3.852,0.62), (3.787,0.555,3.852,0.62), (3.787,0.555,4.005,0.62), (3.94,0.555,4.005,0.62), (3.94,0.555,4.072,0.62), (4.007,0.555,4.072,0.62), (4.007,0.555,4.142,0.62), (4.077,0.555,4.142,0.62), (4.077,0.555,4.28,0.62), (6.027,0.557,6.092,0.622), (6.387,0.557,6.452,0.622), (0.032,0.92,0.11,1.195), (0.25,0.92,0.315,1.195), (1.005,1.047,1.07,1.322), (0.63,1.06,0.695,1.195), (0.25,1.13,0.315,1.35), (0.63,1.13,0.695,1.35), (1.005,1.257,1.07,1.35), (0,1.285,6.6,1.4)])
R(complex109, boundary, [(0,0,6.6,1.4)])
complex109.add(gdstk.Label('A', (0.93,0.57), layer=11, texttype=0))
complex109.add(gdstk.Label('B', (6.42,0.59), layer=11, texttype=0))
complex109.add(gdstk.Label('C', (6.06,0.59), layer=11, texttype=0))
complex109.add(gdstk.Label('D', (3.54,0.58), layer=11, texttype=0))
complex109.add(gdstk.Label('E', (3.82,0.58), layer=11, texttype=0))
complex109.add(gdstk.Label('F', (3.37,0.57), layer=11, texttype=0))
complex109.add(gdstk.Label('G', (2.49,0.58), layer=11, texttype=0))
complex109.add(gdstk.Label('H', (1.28,0.57), layer=11, texttype=0))
complex109.add(gdstk.Label('Y', (0.08,0.28), layer=11, texttype=0))
complex109.add(gdstk.Label('VCC', (0,1.4), layer=11, texttype=0))
complex109.add(gdstk.Label('GND', (0,0), layer=11, texttype=0))

lib.write_gds('COMPLEX109.gds')
